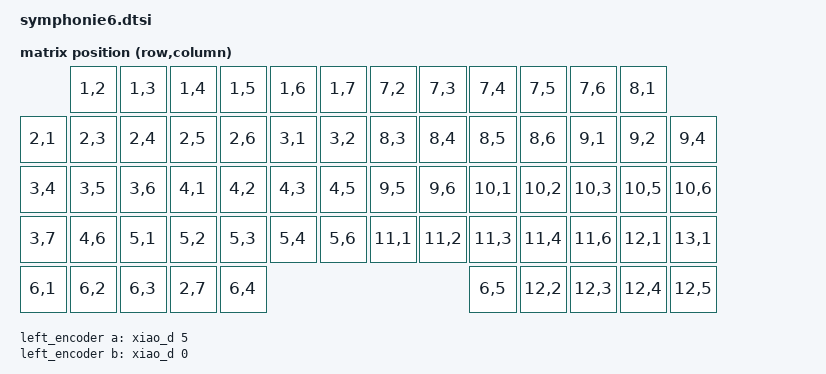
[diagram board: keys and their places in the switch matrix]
#include <dt-bindings/zmk/matrix_transform.h>
#include "symphonie6-layouts.dtsi"

/ {
    chosen {
        zmk,physical-layout = &physical_layout0;
    };

    kscan0: kscan {
        compatible = "zmk,kscan-gpio-charlieplex";
        wakeup-source;
        interrupt-gpios = <&xiao_d 1 (GPIO_ACTIVE_HIGH | GPIO_PULL_DOWN)>;
    };

    default_transform: keymap_transform0 {
        compatible = "zmk,matrix-transform";
        rows = <12>;
        columns = <7>;
        map = <
                     RC(1,2)  RC(1,3)  RC(1,4)  RC(1,5)  RC(1,6)  RC(1,7)    RC(7,2)  RC(7,3)  RC(7,4)  RC(7,5)  RC(7,6)  RC(8,1)
            RC(2,1)  RC(2,3)  RC(2,4)  RC(2,5)  RC(2,6)  RC(3,1)  RC(3,2)    RC(8,3)  RC(8,4)  RC(8,5)  RC(8,6)  RC(9,1)  RC(9,2)  RC(9,4)
            RC(3,4)  RC(3,5)  RC(3,6)  RC(4,1)  RC(4,2)  RC(4,3)  RC(4,5)    RC(9,5)  RC(9,6)  RC(10,1) RC(10,2) RC(10,3) RC(10,5) RC(10,6)
            RC(3,7)  RC(4,6)  RC(5,1)  RC(5,2)  RC(5,3)  RC(5,4)  RC(5,6)    RC(11,1) RC(11,2) RC(11,3) RC(11,4) RC(11,6) RC(12,1) RC(13,1)
            RC(6,1)  RC(6,2)  RC(6,3)      RC(2,7)       RC(6,4)  RC(6,5)    RC(12,2)                            RC(12,3) RC(12,4) RC(12,5)
        >;
    };

    left_encoder: encoder_left {
        compatible = "alps,ec11";
        a-gpios = <&xiao_d 5 (GPIO_ACTIVE_HIGH | GPIO_PULL_UP)>;
        b-gpios = <&xiao_d 0 (GPIO_ACTIVE_HIGH | GPIO_PULL_UP)>;
        steps = <24>;
        status = "disabled";
    };

    sensors: sensors {
        compatible = "zmk,keymap-sensors";
        sensors = <&left_encoder>;
        triggers-per-rotation = <10>;
    };
};

&physical_layout0 {
    kscan = <&kscan0>; // Label of the kscan node this layout uses
    transform = <&default_transform>; // Label of the matrix transform this layout uses
};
